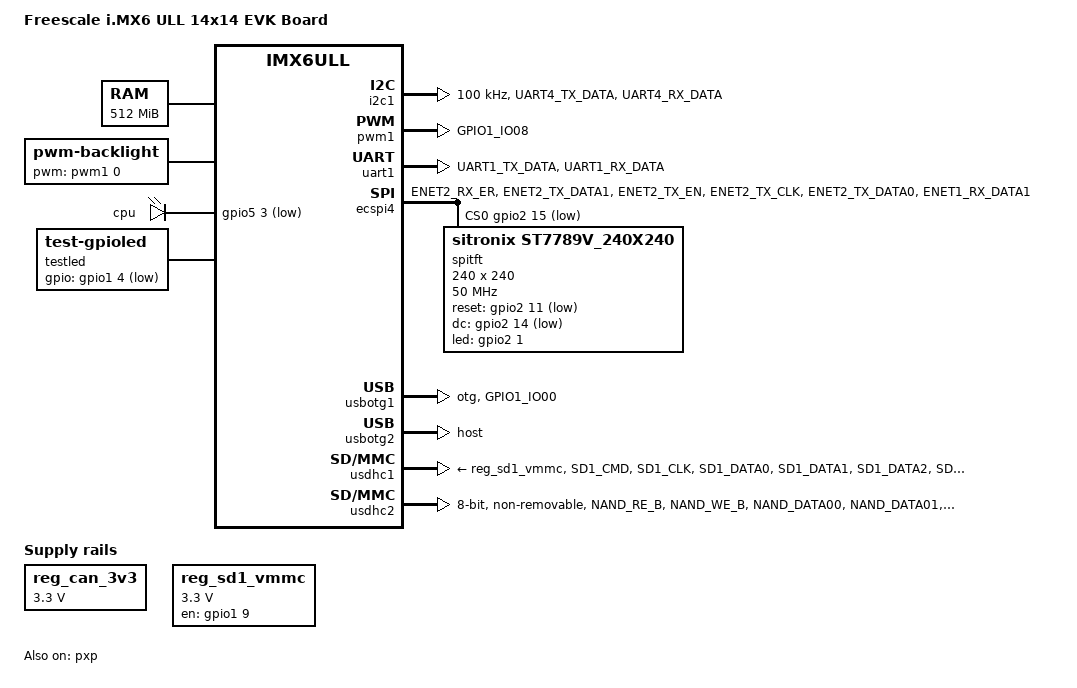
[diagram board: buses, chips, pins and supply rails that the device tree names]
/*
 * Copyright (C) 2016 Freescale Semiconductor, Inc.
 *
 * This program is free software; you can redistribute it and/or modify
 * it under the terms of the GNU General Public License version 2 as
 * published by the Free Software Foundation.
 */

/dts-v1/;

#include <dt-bindings/input/input.h>
#include "imx6ull.dtsi"

/ {
	model = "Freescale i.MX6 ULL 14x14 EVK Board";
	compatible = "fsl,imx6ull-14x14-evk", "fsl,imx6ull";

	chosen {
		stdout-path = &uart1;
	};

	memory {
		reg = <0x80000000 0x20000000>;
	};

	reserved-memory {
		#address-cells = <1>;
		#size-cells = <1>;
		ranges;

		linux,cma {
			compatible = "shared-dma-pool";
			reusable;
			size = <0x14000000>;
			linux,cma-default;
		};
	};

	backlight {
		compatible = "pwm-backlight";
		pwms = <&pwm1 0 5000000>;
		brightness-levels = <0 4 8 16 32 64 128 255>;
		default-brightness-level = <6>;
		status = "okay";
	};

	pxp_v4l2 {
		compatible = "fsl,imx6ul-pxp-v4l2", "fsl,imx6sx-pxp-v4l2", "fsl,imx6sl-pxp-v4l2";
		status = "okay";
	};

	regulators {
		compatible = "simple-bus";
		#address-cells = <1>;
		#size-cells = <0>;

		reg_can_3v3: regulator@0 {
			compatible = "regulator-fixed";
			reg = <0>;
			regulator-name = "can-3v3";
			regulator-min-microvolt = <3300000>;
			regulator-max-microvolt = <3300000>;
			/* gpios = <&gpio_spi 3 GPIO_ACTIVE_LOW>; */
		};

    reg_sd1_vmmc: regulator@1 {
			compatible = "regulator-fixed";
			regulator-name = "VSD_3V3";
			regulator-min-microvolt = <3300000>;
			regulator-max-microvolt = <3300000>;
			gpio = <&gpio1 9 GPIO_ACTIVE_HIGH>;
			off-on-delay = <20000>;
			enable-active-high;
		};

	};
  
  leds {
		compatible = "gpio-leds";
		pinctrl-names = "default";
		pinctrl-0 = <&pinctrl_led>;

		led0: cpu {
			label = "cpu";
			gpios = <&gpio5 3 GPIO_ACTIVE_LOW>;
			default-state = "on";
			linux,default-trigger = "heartbeat";
		};
	};

  testled {
    compatible = "test-gpioled";
    status = "okay";

    pinctrl-names = "default";
    pinctrl-0 = <&pinctrl_testled>;
    gpios = <&gpio1 4 GPIO_ACTIVE_LOW>;
  };

};


&cpu0 {
  arm-supply = <&reg_arm>;
	soc-supply = <&reg_soc>;
  /* clock-frequency = <800000000>; */
	/* dc-supply = <&reg_gpio_dvfs>; */
};

&clks {
	assigned-clocks = <&clks IMX6UL_CLK_PLL4_AUDIO_DIV>;
	assigned-clock-rates = <786432000>;
};

&csi {
	status = "disable";
};

&gpc {
	fsl,cpu_pupscr_sw2iso = <0x1>;
	fsl,cpu_pupscr_sw = <0x0>;
	fsl,cpu_pdnscr_iso2sw = <0x1>;
	fsl,cpu_pdnscr_iso = <0x1>;
	fsl,ldo-bypass = <0>; /* DCDC, ldo-enable */
};

&i2c1 {
	clock-frequency = <100000>;
	pinctrl-names = "default";
	pinctrl-0 = <&pinctrl_i2c1>;
	status = "okay";

};

&iomuxc {
	pinctrl-names = "default";
	pinctrl-0 = <&pinctrl_hog_1>;
	pinctrl_hog_1: hoggrp-1 {
		fsl,pins = <
			MX6UL_PAD_UART1_RTS_B__GPIO1_IO19	0x17059 /* SD1 CD */
		>;
	};

	pinctrl_i2c1: i2c1grp {
		fsl,pins = <
			MX6UL_PAD_UART4_TX_DATA__I2C1_SCL 0x4001b8b0
			MX6UL_PAD_UART4_RX_DATA__I2C1_SDA 0x4001b8b0
		>;
	};

	pinctrl_pwm1: pwm1grp {
		fsl,pins = <
			MX6UL_PAD_GPIO1_IO08__PWM1_OUT   0x110b0
		>;
	};


	pinctrl_uart1: uart1grp {
		fsl,pins = <
			MX6UL_PAD_UART1_TX_DATA__UART1_DCE_TX 0x1b0b1
			MX6UL_PAD_UART1_RX_DATA__UART1_DCE_RX 0x1b0b1
		>;
	};

	pinctrl_usb_otg1_id: usbotg1idgrp {
		fsl,pins = <
			MX6UL_PAD_GPIO1_IO00__ANATOP_OTG1_ID	0x17059
		>;
	};

  pinctrl_usb_otg1_pwr: usbotg1pwrgrp {
		fsl,pins = <
			MX6UL_PAD_GPIO1_IO04__USB_OTG1_PWR	0x17059
		>;
	};

	pinctrl_usdhc1: usdhc1grp {
		fsl,pins = <
			MX6UL_PAD_SD1_CMD__USDHC1_CMD     0x17059
			MX6UL_PAD_SD1_CLK__USDHC1_CLK     0x10071
			MX6UL_PAD_SD1_DATA0__USDHC1_DATA0 0x17059
			MX6UL_PAD_SD1_DATA1__USDHC1_DATA1 0x17059
			MX6UL_PAD_SD1_DATA2__USDHC1_DATA2 0x17059
			MX6UL_PAD_SD1_DATA3__USDHC1_DATA3 0x17059
		>;
	};

	pinctrl_usdhc1_100mhz: usdhc1grp100mhz {
		fsl,pins = <
			MX6UL_PAD_SD1_CMD__USDHC1_CMD     0x170b9
			MX6UL_PAD_SD1_CLK__USDHC1_CLK     0x100b9
			MX6UL_PAD_SD1_DATA0__USDHC1_DATA0 0x170b9
			MX6UL_PAD_SD1_DATA1__USDHC1_DATA1 0x170b9
			MX6UL_PAD_SD1_DATA2__USDHC1_DATA2 0x170b9
			MX6UL_PAD_SD1_DATA3__USDHC1_DATA3 0x170b9
		>;
	};

	pinctrl_usdhc1_200mhz: usdhc1grp200mhz {
		fsl,pins = <
			MX6UL_PAD_SD1_CMD__USDHC1_CMD     0x170f9
			MX6UL_PAD_SD1_CLK__USDHC1_CLK     0x100f9
			MX6UL_PAD_SD1_DATA0__USDHC1_DATA0 0x170f9
			MX6UL_PAD_SD1_DATA1__USDHC1_DATA1 0x170f9
			MX6UL_PAD_SD1_DATA2__USDHC1_DATA2 0x170f9
			MX6UL_PAD_SD1_DATA3__USDHC1_DATA3 0x170f9
		>;
	};

	pinctrl_usdhc2: usdhc2grp {
		fsl,pins = <
			MX6UL_PAD_NAND_RE_B__USDHC2_CLK     0x10069
			MX6UL_PAD_NAND_WE_B__USDHC2_CMD     0x17059
			MX6UL_PAD_NAND_DATA00__USDHC2_DATA0 0x17059
			MX6UL_PAD_NAND_DATA01__USDHC2_DATA1 0x17059
			MX6UL_PAD_NAND_DATA02__USDHC2_DATA2 0x17059
			MX6UL_PAD_NAND_DATA03__USDHC2_DATA3 0x17059
		>;
	};

	pinctrl_usdhc2_8bit: usdhc2grp_8bit {
		fsl,pins = <
			MX6UL_PAD_NAND_RE_B__USDHC2_CLK     0x10069
			MX6UL_PAD_NAND_WE_B__USDHC2_CMD     0x17059
			MX6UL_PAD_NAND_DATA00__USDHC2_DATA0 0x17059
			MX6UL_PAD_NAND_DATA01__USDHC2_DATA1 0x17059
			MX6UL_PAD_NAND_DATA02__USDHC2_DATA2 0x17059
			MX6UL_PAD_NAND_DATA03__USDHC2_DATA3 0x17059
			MX6UL_PAD_NAND_DATA04__USDHC2_DATA4 0x17059
			MX6UL_PAD_NAND_DATA05__USDHC2_DATA5 0x17059
			MX6UL_PAD_NAND_DATA06__USDHC2_DATA6 0x17059
			MX6UL_PAD_NAND_DATA07__USDHC2_DATA7 0x17059
		>;
	};

	pinctrl_usdhc2_8bit_100mhz: usdhc2grp_8bit_100mhz {
		fsl,pins = <
			MX6UL_PAD_NAND_RE_B__USDHC2_CLK     0x100b9
			MX6UL_PAD_NAND_WE_B__USDHC2_CMD     0x170b9
			MX6UL_PAD_NAND_DATA00__USDHC2_DATA0 0x170b9
			MX6UL_PAD_NAND_DATA01__USDHC2_DATA1 0x170b9
			MX6UL_PAD_NAND_DATA02__USDHC2_DATA2 0x170b9
			MX6UL_PAD_NAND_DATA03__USDHC2_DATA3 0x170b9
			MX6UL_PAD_NAND_DATA04__USDHC2_DATA4 0x170b9
			MX6UL_PAD_NAND_DATA05__USDHC2_DATA5 0x170b9
			MX6UL_PAD_NAND_DATA06__USDHC2_DATA6 0x170b9
			MX6UL_PAD_NAND_DATA07__USDHC2_DATA7 0x170b9
		>;
	};

	pinctrl_usdhc2_8bit_200mhz: usdhc2grp_8bit_200mhz {
		fsl,pins = <
			MX6UL_PAD_NAND_RE_B__USDHC2_CLK     0x100f9
			MX6UL_PAD_NAND_WE_B__USDHC2_CMD     0x170f9
			MX6UL_PAD_NAND_DATA00__USDHC2_DATA0 0x170f9
			MX6UL_PAD_NAND_DATA01__USDHC2_DATA1 0x170f9
			MX6UL_PAD_NAND_DATA02__USDHC2_DATA2 0x170f9
			MX6UL_PAD_NAND_DATA03__USDHC2_DATA3 0x170f9
			MX6UL_PAD_NAND_DATA04__USDHC2_DATA4 0x170f9
			MX6UL_PAD_NAND_DATA05__USDHC2_DATA5 0x170f9
			MX6UL_PAD_NAND_DATA06__USDHC2_DATA6 0x170f9
			MX6UL_PAD_NAND_DATA07__USDHC2_DATA7 0x170f9
		>;
	};

	pinctrl_wdog: wdoggrp {
		fsl,pins = <
			MX6UL_PAD_LCD_RESET__WDOG1_WDOG_ANY    0x30b0
		>;
	};

  pinctrl_testled: testledgrp {
    fsl,pins = <
      MX6UL_PAD_GPIO1_IO04__GPIO1_IO04        0x1b0b0
    >;
  };

  pinctrl_ecspi4: ecspi4grp {
    fsl,pins = <
      MX6UL_PAD_ENET2_RX_ER__ECSPI4_SS0 0x10b1  /* CS */
      MX6UL_PAD_ENET2_TX_DATA1__ECSPI4_SCLK 0x10b1 /* SCLK */
      /* MX6UL_PAD_ENET2_TX_CLK__ECSPI4_MISO 0x10b1 */ /* MISO */
      MX6UL_PAD_ENET2_TX_EN__ECSPI4_MOSI 0x10b1 /* MOSI */
    >;
  };

  pinctrl_st7789: st7789grp {
    fsl,pins = <
      /* MX6UL_PAD_ENET2_RX_ER__GPIO2_IO15 0x10b1 */ /* LCD_CS */
      MX6UL_PAD_ENET2_TX_CLK__GPIO2_IO14 0x10b1 /* LCD_DC */
      MX6UL_PAD_ENET2_TX_DATA0__GPIO2_IO11 0x10b1 /* LCD_RST */
      MX6UL_PAD_ENET1_RX_DATA1__GPIO2_IO01 0x10b1 /* LCD_Backlight */
    >;
  };

};

&iomuxc_snvs {
	pinctrl-names = "default_snvs";
  pinctrl-0 = <&pinctrl_hog_2>;
  imx6ul-evk {
    pinctrl_hog_2: hoggrp-2 {
      fsl,pins = <
        MX6ULL_PAD_SNVS_TAMPER0__GPIO5_IO00     0x80000000
      >;
    };

    pinctrl_led: ledgrp {
      fsl,pins = <
        MX6ULL_PAD_SNVS_TAMPER3__GPIO5_IO03     0x1b0b0
      >;
    };

  };
};

&pwm1 {
	pinctrl-names = "default";
	pinctrl-0 = <&pinctrl_pwm1>;
	status = "okay";
};

&pxp {
	status = "okay";
};


&uart1 {
	pinctrl-names = "default";
	pinctrl-0 = <&pinctrl_uart1>;
	status = "okay";
};

&ecspi4 {
  fsl,spi-num-chipselects = <1>;
  pinctrl-names = "default";
  pinctrl-0 = <&pinctrl_ecspi4
                &pinctrl_st7789>;
  cs-gpios = <&gpio2 15 GPIO_ACTIVE_LOW>;
  status = "okay";

  spitft: ST7789V@0 {
    compatible = "sitronix,st7789v_240x240";
    reg = <0>;
    spi-max-frequency = <50000000>;
    width = <240>;
	  height = <240>;
    rotate = <270>;
    fps = <60>;
    txbuflen = <115200>;
    backlight = <1>;
    reset-gpios = <&gpio2 11 GPIO_ACTIVE_LOW>;
    dc-gpios = <&gpio2 14 GPIO_ACTIVE_LOW>;
    led-gpios = <&gpio2 1 GPIO_ACTIVE_HIGH>;
    debug = <1>;
  };
};

&usbotg1 {
	pinctrl-names = "default";
	pinctrl-0 = <&pinctrl_usb_otg1_id>;
	dr_mode = "otg";
	srp-disable;
	hnp-disable;
	adp-disable;
	status = "okay";
};

&usbotg2 {
	dr_mode = "host";
	disable-over-current;
	status = "okay";
};

&usbphy1 {
	tx-d-cal = <0x5>;
};

&usbphy2 {
	tx-d-cal = <0x5>;
};

&usdhc1 {
	pinctrl-names = "default", "state_100mhz", "state_200mhz";
	pinctrl-0 = <&pinctrl_usdhc1>;
	pinctrl-1 = <&pinctrl_usdhc1_100mhz>;
	pinctrl-2 = <&pinctrl_usdhc1_200mhz>;
	cd-gpios = <&gpio1 19 GPIO_ACTIVE_LOW>;
	keep-power-in-suspend;
	enable-sdio-wakeup;
	vmmc-supply = <&reg_sd1_vmmc>;
	status = "okay";
};

&usdhc2 {
  pinctrl-names = "default", "state_100mhz", "state_200mhz";
  pinctrl-0 = <&pinctrl_usdhc2_8bit>;
  pinctrl-1 = <&pinctrl_usdhc2_8bit_100mhz>;
  pinctrl-2 = <&pinctrl_usdhc2_8bit_200mhz>;
  bus-width = <8>;
  non-removable;
  status = "okay";
};

&wdog1 {
	pinctrl-names = "default";
	pinctrl-0 = <&pinctrl_wdog>;
	fsl,ext-reset-output;
};
